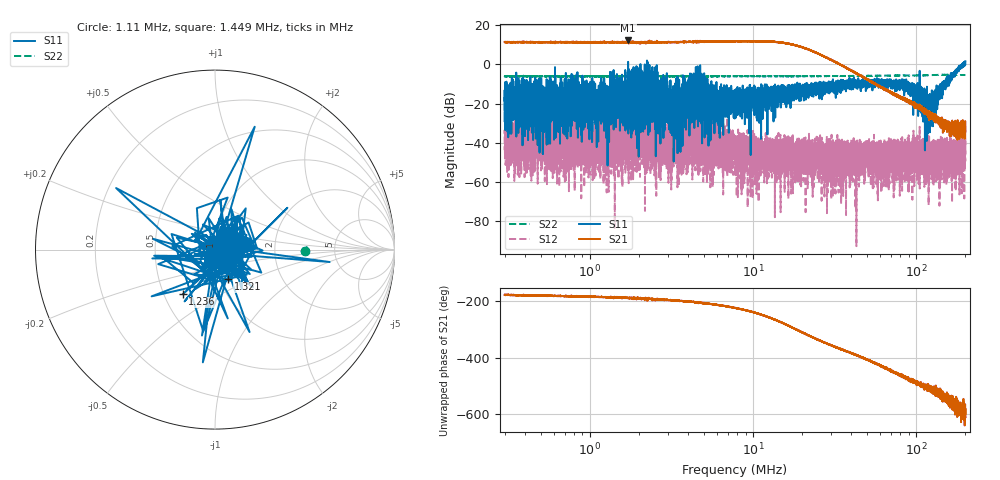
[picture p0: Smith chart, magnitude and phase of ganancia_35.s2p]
# Hz S DB R 50
! CMT, M5065, 19127446, 24.2.4/2
! Date: 11/1/2024 3:33:38 PM
! Data: Format (Calibration Info)
! Freq	S11:dB/Ang(F2)	S21:dB/Ang(F2)	S12:dB/Ang(F2)	S22:dB/Ang(F2)
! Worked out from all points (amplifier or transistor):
!   9000 points, 300 kHz to 200 MHz, reference 50 ohm
!   highest |S21| = 12.2 dB at 1.714 MHz (marker M1)
!   |S21| within 3 dB of that: start of sweep to 19.11 MHz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
!   unconditionally stable (mu >= 1): start of sweep to 1.463 MHz; 2.568 MHz to 4.253 MHz; 4.456 MHz to 190.6 MHz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
!   at 886.8 kHz: K = 4.17, MAG = 12.9 dB, |S12| = -32.6 dB
!   at 7.749 MHz: K = 27.89, MAG = 13.2 dB, |S12| = -49.5 dB
!   at 200 MHz: K = -1094.40, MSG = 4.5 dB, |S12| = -43.1 dB
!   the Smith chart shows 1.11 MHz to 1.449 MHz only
!   S11 on the Smith chart (normalised r, x): 1.11 MHz: 1.10, +0.21; 1.236 MHz: 0.62, -0.34; 1.321 MHz: 1.09, -0.37; 1.449 MHz: 1.07, -0.08
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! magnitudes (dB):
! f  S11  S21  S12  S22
! 300 kHz  -29.0  11.4  -35.6  -6.0
! 310.1 kHz  -26.4  11.3  -37.1  -6.0
! 348.1 kHz  -12.0  11.3  -24.9  -6.0
! 886.8 kHz  -11.9  11.5  -32.6  -6.2
! 1.11 MHz  -19.2  11.3  -41.1  -6.0
! 1.236 MHz  -10.3  11.6  -39.1  -6.0
! 1.321 MHz  -14.9  11.3  -24.3  -5.7
! 1.449 MHz  -25.6  11.4  -41.2  -6.0
! 1.714 MHz  1.3  12.2  -32.1  -5.9
! 2.621 MHz  -24.6  11.4  -30.0  -6.2
! 3.058 MHz  -18.1  11.4  -47.3  -6.0
! 4.254 MHz  -6.6  11.8  -20.6  -5.5
! 5.368 MHz  -14.6  11.7  -38.4  -6.0
! 7.749 MHz  -15.7  11.8  -49.5  -6.0
! 15.03 MHz  -16.5  11.1  -40.3  -5.9
! 16.45 MHz  -14.5  10.5  -68.5  -6.0
! 22.91 MHz  -13.9  6.9  -56.4  -5.9
! 67.71 MHz  -9.3  -13.6  -52.0  -5.7
! 95.78 MHz  -25.8  -20.5  -44.8  -5.6
! 119.7 MHz  -19.0  -24.3  -45.8  -5.5
! 150.3 MHz  -9.2  -29.4  -43.7  -5.3
! 200 MHz  1.5  -34.2  -43.1  -5.4
